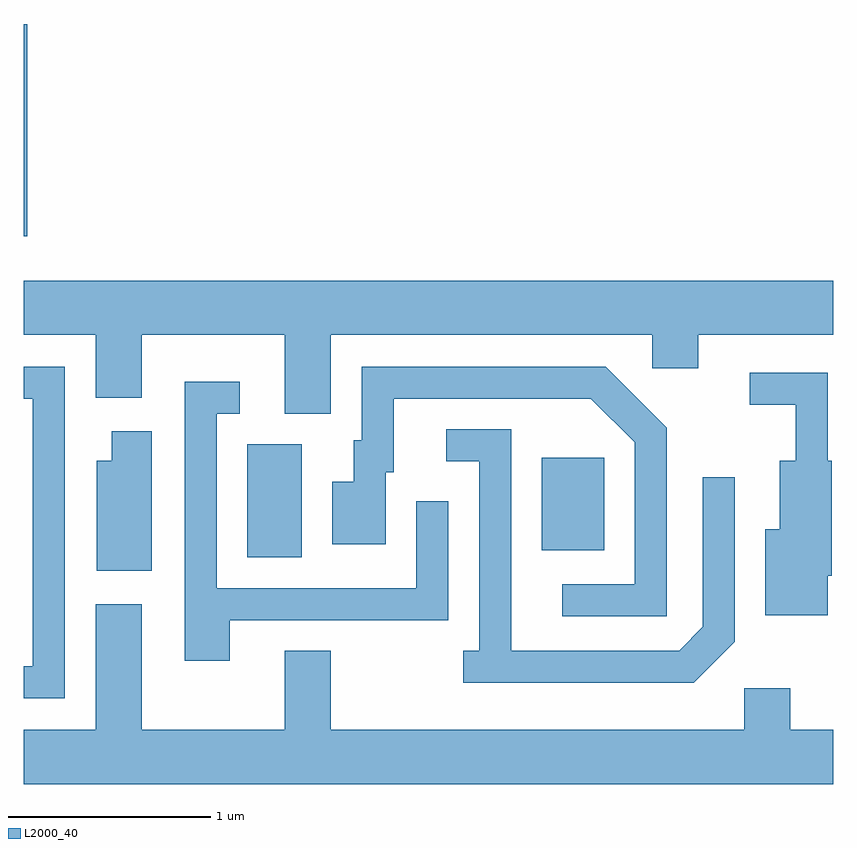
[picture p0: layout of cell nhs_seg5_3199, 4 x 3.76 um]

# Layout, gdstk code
import gdstk
lib = gdstk.Library(unit=1e-6, precision=1e-09)
def R(c, l, rs):  # rectangles x0, y0, x1, y1
    for r in rs: c.add(gdstk.rectangle(r[:2], r[2:], *l))
def P(c, l, *ps):  # polygons
    for p in ps: c.add(gdstk.Polygon(p, *l))
L2000_40 = (2000, 40)

nhs_seg5_3199 = lib.new_cell('nhs_seg5_3199')
R(nhs_seg5_3199, L2000_40, [(280.716,1493.436,280.984,1493.994), (282.171,1493.471,282.479,1493.929), (279.611,1495.023,279.629,1496.072)])
P(nhs_seg5_3199, L2000_40, [(281.129,1494.536),(282.716,1494.536),(282.716,1494.371),(282.944,1494.371),(282.944,1494.536),(283.611,1494.536),(283.611,1494.804),(279.611,1494.804),(279.611,1494.536),(279.966,1494.536),(279.966,1494.226),(280.194,1494.226),(280.194,1494.536),(280.901,1494.536),(280.901,1494.146),(281.129,1494.146)],
  [(279.814,1494.379),(279.611,1494.379),(279.611,1494.221),(279.656,1494.221),(279.656,1492.899),(279.611,1492.899),(279.611,1492.741),(279.814,1492.741)],
  [(282.789,1494.077),(282.487,1494.379),(281.281,1494.379),(281.281,1494.014),(281.241,1494.014),(281.241,1493.809),(281.136,1493.809),(281.136,1493.501),(281.399,1493.501),(281.399,1493.856),(281.439,1493.856),(281.439,1494.221),(282.414,1494.221),(282.631,1494.004),(282.631,1493.304),(282.273,1493.304),(282.273,1493.146),(282.789,1493.146)],
  [(283.584,1493.346),(283.604,1493.346),(283.604,1493.914),(283.584,1493.914),(283.584,1494.349),(283.198,1494.349),(283.198,1494.191),(283.426,1494.191),(283.426,1493.914),(283.346,1493.914),(283.346,1493.574),(283.276,1493.574),(283.276,1493.151),(283.584,1493.151)],
  [(280.629,1493.126),(281.709,1493.126),(281.709,1493.713),(281.551,1493.713),(281.551,1493.284),(280.564,1493.284),(280.564,1494.146),(280.678,1494.146),(280.678,1494.304),(280.406,1494.304),(280.406,1492.926),(280.629,1492.926)],
  [(283.124,1493.019),(283.124,1493.833),(282.966,1493.833),(282.966,1493.092),(282.849,1492.974),(282.019,1492.974),(282.019,1494.069),(281.698,1494.069),(281.698,1493.911),(281.861,1493.911),(281.861,1492.974),(281.783,1492.974),(281.783,1492.816),(282.922,1492.816)],
  [(280.244,1494.059),(280.046,1494.059),(280.046,1493.914),(279.971,1493.914),(279.971,1493.371),(280.244,1493.371)],
  [(283.611,1492.584),(283.399,1492.584),(283.399,1492.789),(283.171,1492.789),(283.171,1492.584),(281.129,1492.584),(281.129,1492.974),(280.901,1492.974),(280.901,1492.584),(280.194,1492.584),(280.194,1493.204),(279.966,1493.204),(279.966,1492.584),(279.611,1492.584),(279.611,1492.316),(283.611,1492.316)])

lib.write_gds('nhs_seg5_3199.gds')
